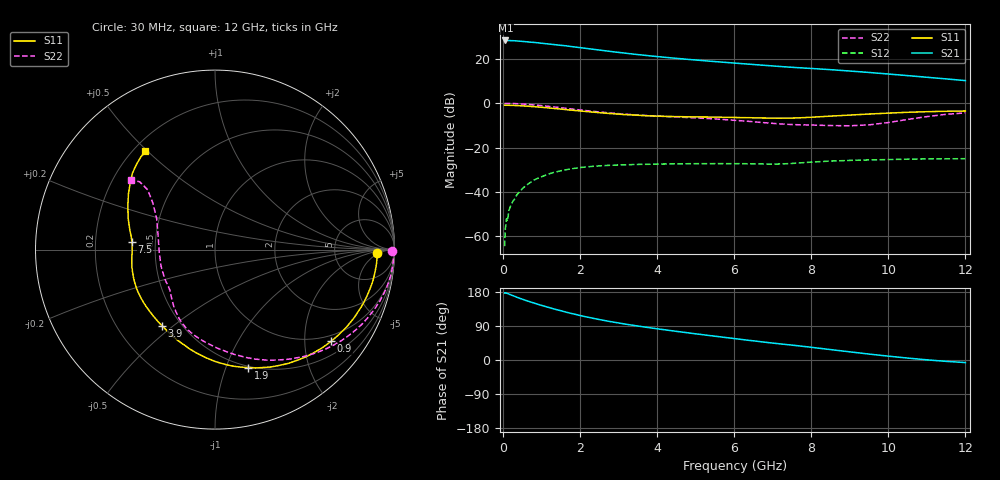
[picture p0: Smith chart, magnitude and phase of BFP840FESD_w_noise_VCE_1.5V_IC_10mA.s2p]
! Infineon Technologies  Discrete & RF Semiconductors
! BFP840FESD
! VCE =  1.5 V,  IC =  10 mA
! Common Emitter S-Parameters:  May 2012
# GHz  S  MA  R  50
!  f  S11  S21  S12  S22
! GHz  MAG  ANG  MAG  ANG  MAG  ANG  MAG  ANG
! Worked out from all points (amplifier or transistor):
!   103 points, 30 MHz to 12 GHz, reference 50 ohm
!   highest |S21| = 28.3 dB at 50 MHz (marker M1)
!   |S21| within 3 dB of that: start of sweep to 1.875 GHz
!   unconditionally stable (mu >= 1): 6.458 GHz to end of sweep
!   at 400 MHz: K = 0.06, MSG = 34.2 dB, |S12| = -40.3 dB
!   at 3.7 GHz: K = 0.53, MSG = 24.6 dB, |S12| = -27.5 dB
!   at 12 GHz: K = 1.17, MAG = 15.1 dB, |S12| = -25.0 dB
!   lowest NFmin = 0.66 dB at 450 MHz
!   S11 on the Smith chart (normalised r, x): 30 MHz: 19, -4; 900 MHz: 0.83, -2.65; 1.9 GHz: 0.49, -1.20; 3.9 GHz: 0.39, -0.46; 7.5 GHz: 0.37, +0.04; 12 GHz: 0.25, +0.49
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0.03  0.904 -1.3  26.03 176.7  0.0006 117.2  0.9869 -0.4
0.04  0.9043 -1.7  26.05 176.4  0.001 98.2  0.9901 -0.8
0.05  0.9031 -2.2  26.13 177.5  0.0015 91.7  0.9935 -1.1
0.25  0.8968 -11.2  25.8 169.6  0.0063 82.7  0.989 -8.7
0.45  0.8793 -19.8  25.06 161.8  0.0108 77.3  0.9685 -15.6
0.6  0.8629 -26.2  24.39 156.5  0.0143 73.4  0.9482 -20.6
0.9  0.8246 -38.3  23.08 146.9  0.0205 66.3  0.9008 -30.1
1.4  0.7538 -57.3  20.69 132.4  0.0288 55.2  0.8108 -44.7
1.6  0.7238 -64.6  19.9 127.0  0.0315 51.1  0.7742 -50.3
1.9  0.6823 -74.4  18.38 119.7  0.0346 45.5  0.722 -58.1
2.1  0.6581 -80.9  17.54 114.9  0.0363 42.5  0.6916 -63.0
2.5  0.6137 -92.3  15.84 106.6  0.0388 37.1  0.6369 -71.9
2.9  0.5766 -102.6  14.36 99.3  0.0403 32.9  0.5928 -79.7
3.3  0.5476 -112.0  13.09 92.6  0.0414 29.7  0.5577 -86.6
3.9  0.5168 -124.8  11.53 83.7  0.0425 26.2  0.5202 -95.6
4.1  0.5109 -128.8  11.1 80.9  0.0427 25.2  0.5098 -98.3
5  0.4938 -145.4  9.449 69.0  0.0435 22.3  0.4681 -109.5
6.1  0.4772 -163.2  7.956 55.3  0.0436 20.3  0.408 -122.4
7.5  0.465 174.5  6.482 39.2  0.044 25.1  0.3322 -141.0
8.5  0.5138 160.3  5.731 27.4  0.0498 25.0  0.3147 -162.9
10.5  0.627 137.2  4.21 5.1  0.0549 21.2  0.4332 143.1
12  0.6702 125.3  3.25 -6.8  0.0563 20.8  0.6073 140.2
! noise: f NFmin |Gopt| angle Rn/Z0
0.45  0.66  0.31  5  0.14
0.9  0.68  0.3  11  0.15
1.5  0.7  0.28  16  0.15
1.9  0.7  0.25  27  0.15
2.4  0.71  0.23  35  0.15
3.5  0.73  0.23  57  0.14
5.5  0.79  0.15  102  0.11
8  0.91  0.13  168  0.12
10  1.04  0.24  -135  0.12
12  1.26  0.4  -115  0.14
